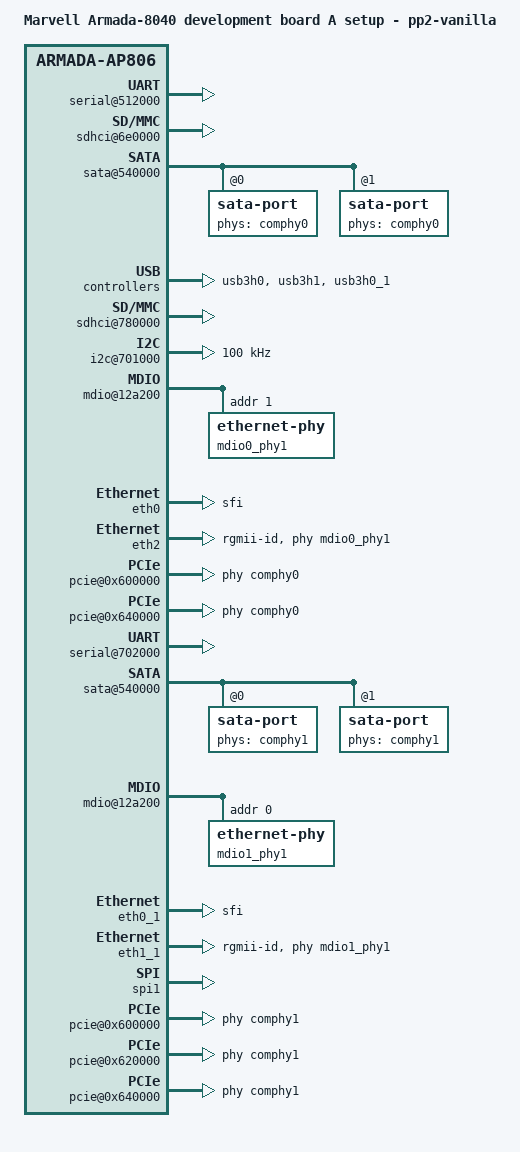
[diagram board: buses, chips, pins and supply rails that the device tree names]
/*
 * Copyright (C) 2016 Marvell Technology Group Ltd.
 *
 * This file is dual-licensed: you can use it either under the terms
 * of the GPLv2 or the X11 license, at your option. Note that this dual
 * licensing only applies to this file, and not this project as a
 * whole.
 *
 *  a) This library is free software; you can redistribute it and/or
 *     modify it under the terms of the GNU General Public License as
 *     published by the Free Software Foundation; either version 2 of the
 *     License, or (at your option) any later version.
 *
 *     This library is distributed in the hope that it will be useful,
 *     but WITHOUT ANY WARRANTY; without even the implied warranty of
 *     MERCHANTABILITY or FITNESS FOR A PARTICULAR PURPOSE.  See the
 *     GNU General Public License for more details.
 *
 * Or, alternatively,
 *
 *  b) Permission is hereby granted, free of charge, to any person
 *     obtaining a copy of this software and associated documentation
 *     files (the "Software"), to deal in the Software without
 *     restriction, including without limitation the rights to use,
 *     copy, modify, merge, publish, distribute, sublicense, and/or
 *     sell copies of the Software, and to permit persons to whom the
 *     Software is furnished to do so, subject to the following
 *     conditions:
 *
 *     The above copyright notice and this permission notice shall be
 *     included in all copies or substantial portions of the Software.
 *
 *     THE SOFTWARE IS PROVIDED "AS IS", WITHOUT WARRANTY OF ANY KIND,
 *     EXPRESS OR IMPLIED, INCLUDING BUT NOT LIMITED TO THE WARRANTIES
 *     OF MERCHANTABILITY, FITNESS FOR A PARTICULAR PURPOSE AND
 *     NONINFRINGEMENT. IN NO EVENT SHALL THE AUTHORS OR COPYRIGHT
 *     HOLDERS BE LIABLE FOR ANY CLAIM, DAMAGES OR OTHER LIABILITY,
 *     WHETHER IN AN ACTION OF CONTRACT, TORT OR OTHERWISE, ARISING
 *     FROM, OUT OF OR IN CONNECTION WITH THE SOFTWARE OR THE USE OR
 *     OTHER DEALINGS IN THE SOFTWARE.
 */

/*
 * Device Tree file for Marvell Armada 8040 development board
 * This file supports option A configuration
 * CP0_RGMII1,CP1_RGMII0,CP0_EMMC,CP1_SPI(BOOT),CP1_UART,CP0_I2C,AP_eMMC,AP_UART
 */

#include "armada-8040-db.dtsi"

/ {
	model = "Marvell Armada-8040 development board A setup - pp2-vanilla";
	compatible = "marvell,armada8040-db-A", "marvell,armada8040-db", "marvell,armada8040",
			"marvell,armada-ap806-quad", "marvell,armada-ap806";
	#address-cells = <2>;
	#size-cells = <2>;

	chosen { };

	aliases {
		ethernet0 = &eth0;
		ethernet1 = &eth2;
		ethernet2 = &eth0_1;
		ethernet3 = &eth1_1;
	};

	ap806 {
		config-space {
			serial@512000 {
				status = "okay";
			};
			sdhci@6e0000 {
				status = "okay";
			};
			i2c@511000 {
				status = "disabled";
			};
			spi0: spi@510600 {
				status = "disabled";
			};
		};
	};

	cpn-110-master {
		config-space {
			/delete-node/ppv22@000000;
			sata@540000 {
				status = "okay";
				sata-port@0 {
					phys = <&comphy0 1 COMPHY_SATA0>;
					phy-names = "comphy";
					status = "okay";
				};
				sata-port@1 {
					phys = <&comphy0 3 COMPHY_SATA1>;
					phy-names = "comphy";
					status = "okay";
				};
			};
			/* usb3h0 is USB2 only (UTMI) */
			usb3h0: usb3@500000 {
				status = "okay";
			};
			usb3h1: usb3@510000 {
				status = "okay";
			};
			sdhci@780000 {
				status = "okay";
			};
			i2c@701000 {
				clock-frequency = <100000>;
				pinctrl-names = "default";
				pinctrl-0 = <&cpm_i2c0_pins>;
				status = "okay";
			};
			mdio@12a200 {
				#address-cells = <1>;
				#size-cells = <0>;
				mdio0_phy1: ethernet-phy@1 {
					reg = <1>;
				};
			};
			ppv22_vanilla@000000 {
				compatible = "marvell,armada-7k-pp22";
				reg = <0x0 0x100000>, <0x129000 0xb000>;
				clocks = <&cpm_syscon0 1 3>, <&cpm_syscon0 1 9>, <&cpm_syscon0 1 5>;
				clock-names = "pp_clk", "gop_clk", "mg_clk";
				pinctrl-names = "default";
				pinctrl-0 = <&cps_ge1_rgmii_pins>;
				dma-coherent;
				status = "okay";
				eth0: eth0@010000 {
					interrupts = <ICU_GRP_NSR 39 IRQ_TYPE_LEVEL_HIGH>,
						     <ICU_GRP_NSR 43 IRQ_TYPE_LEVEL_HIGH>,
						     <ICU_GRP_NSR 47 IRQ_TYPE_LEVEL_HIGH>,
						     <ICU_GRP_NSR 51 IRQ_TYPE_LEVEL_HIGH>,
						     <ICU_GRP_NSR 55 IRQ_TYPE_LEVEL_HIGH>,
						     <ICU_GRP_NSR 129 IRQ_TYPE_LEVEL_HIGH>;
					interrupt-names = "tx-cpu0", "tx-cpu1", "tx-cpu2",
							  "tx-cpu3", "rx-shared", "link";
					mac-address = [00 00 00 00 00 01];
					port-id = <0>; /* pp2_port_id */
					gop-port-id = <0>;
					phy-mode = "sfi";
					status = "okay";
				};
				eth1: eth1@020000 {
					interrupts = <ICU_GRP_NSR 40 IRQ_TYPE_LEVEL_HIGH>,
						     <ICU_GRP_NSR 44 IRQ_TYPE_LEVEL_HIGH>,
						     <ICU_GRP_NSR 48 IRQ_TYPE_LEVEL_HIGH>,
						     <ICU_GRP_NSR 52 IRQ_TYPE_LEVEL_HIGH>,
						     <ICU_GRP_NSR 56 IRQ_TYPE_LEVEL_HIGH>,
						     <ICU_GRP_NSR 128 IRQ_TYPE_LEVEL_HIGH>;
					interrupt-names = "tx-cpu0", "tx-cpu1", "tx-cpu2",
							  "tx-cpu3", "rx-shared", "link";
				mac-address = [00 00 00 00 00 02];
					status = "disabled";
				};
				eth2: eth2@030000 {
					interrupts = <ICU_GRP_NSR 41 IRQ_TYPE_LEVEL_HIGH>,
						     <ICU_GRP_NSR 45 IRQ_TYPE_LEVEL_HIGH>,
						     <ICU_GRP_NSR 49 IRQ_TYPE_LEVEL_HIGH>,
						     <ICU_GRP_NSR 53 IRQ_TYPE_LEVEL_HIGH>,
						     <ICU_GRP_NSR 57 IRQ_TYPE_LEVEL_HIGH>,
						     <ICU_GRP_NSR 127 IRQ_TYPE_LEVEL_HIGH>;
					interrupt-names = "tx-cpu0", "tx-cpu1", "tx-cpu2",
							  "tx-cpu3", "rx-shared", "link";
					mac-address = [00 00 00 00 00 03];
					port-id = <2>; /* pp2_port_id */
					gop-port-id = <3>;
					phy-mode = "rgmii-id";
					phy = <&mdio0_phy1>;
					status = "okay";
				};
			};
			comphy {
				status = "disabled";
			};
		};
		pcie@0x600000 {
			status = "okay";
			phys = <&comphy0 0 COMPHY_PCIE0>;
			phy-names = "pcie-phy0";
		};
		pcie@0x640000 {
			status = "okay";
			phys = <&comphy0 5 COMPHY_PCIE2>;
			phy-names = "pcie-phy0";
		};
	};
	cpn-110-slave {
		config-space {
			/delete-node/ppv22@000000;
			/* usb3h0_1 is USB2 only (UTMI) */
			usb3h0_1: usb3@500000 {
				status = "okay";
			};
			serial@702000 {
				status = "okay";
			};
			sata@540000 {
				status = "okay";
				sata-port@0 {
					phys = <&comphy1 1 COMPHY_SATA0>;
					phy-names = "comphy";
					status = "okay";
				};
				sata-port@1 {
					phys = <&comphy1 3 COMPHY_SATA1>;
					phy-names = "comphy";
					status = "okay";
				};
			};
			mdio@12a200 {
				#address-cells = <1>;
				#size-cells = <0>;
				mdio1_phy1: ethernet-phy@1 {
					reg = <0>;
				};
			};
			ppv22_vanilla@000000 {
				compatible = "marvell,armada-7k-pp22";
				reg = <0x0 0x100000>, <0x129000 0xb000>;
				clocks = <&cps_syscon0 1 3>, <&cps_syscon0 1 9>, <&cps_syscon0 1 5>;
				clock-names = "pp_clk", "gop_clk", "mg_clk";
				dma-coherent;
				pinctrl-names = "default";
				status = "okay";
				eth0_1: eth0@010000 {
					interrupts = <ICU_GRP_NSR 39 IRQ_TYPE_LEVEL_HIGH>,
						     <ICU_GRP_NSR 43 IRQ_TYPE_LEVEL_HIGH>,
						     <ICU_GRP_NSR 47 IRQ_TYPE_LEVEL_HIGH>,
						     <ICU_GRP_NSR 51 IRQ_TYPE_LEVEL_HIGH>,
						     <ICU_GRP_NSR 55 IRQ_TYPE_LEVEL_HIGH>,
						     <ICU_GRP_NSR 129 IRQ_TYPE_LEVEL_HIGH>;
					interrupt-names = "tx-cpu0", "tx-cpu1", "tx-cpu2",
							  "tx-cpu3", "rx-shared", "link";
					mac-address = [00 00 00 00 00 04];
					port-id = <0>; /* pp2_port_id */
					gop-port-id = <0>;
					phy-mode = "sfi";
					status = "okay";
				};
				eth1_1: eth1@020000 {
					interrupts = <ICU_GRP_NSR 40 IRQ_TYPE_LEVEL_HIGH>,
						     <ICU_GRP_NSR 44 IRQ_TYPE_LEVEL_HIGH>,
						     <ICU_GRP_NSR 48 IRQ_TYPE_LEVEL_HIGH>,
						     <ICU_GRP_NSR 52 IRQ_TYPE_LEVEL_HIGH>,
						     <ICU_GRP_NSR 56 IRQ_TYPE_LEVEL_HIGH>,
						     <ICU_GRP_NSR 128 IRQ_TYPE_LEVEL_HIGH>;
					interrupt-names = "tx-cpu0", "tx-cpu1", "tx-cpu2",
							  "tx-cpu3", "rx-shared", "link";
					mac-address = [00 00 00 00 00 05];
					port-id = <1>; /* pp2_port_id */
					gop-port-id = <2>;
					phy-mode = "rgmii-id";
					phy = <&mdio1_phy1>;
					status = "okay";
				};
				eth2_1: eth2@030000 {
					status = "disabled";
				};
			};
			comphy {
				status = "disabled";
			};
			spi1: spi@700680 {
				status = "okay";
				pinctrl-names = "default";
				pinctrl-0 = <&cps_spi1_pins>;
			};
		};
		pcie@0x600000 {
			status = "okay";
			phys = <&comphy1 0 COMPHY_PCIE0>;
			phy-names = "pcie-phy0";
		};
		pcie@0x620000 {
			status = "okay";
			phys = <&comphy1 4 COMPHY_PCIE1>;
			phy-names = "pcie-phy0";
		};
		pcie@0x640000 {
			status = "okay";
			phys = <&comphy1 5 COMPHY_PCIE2>;
			phy-names = "pcie-phy0";
		};
	};
};
